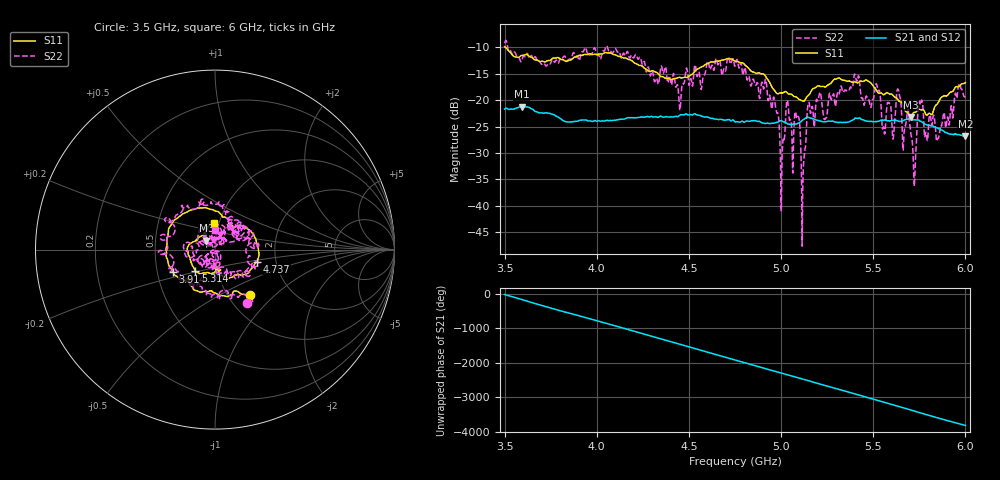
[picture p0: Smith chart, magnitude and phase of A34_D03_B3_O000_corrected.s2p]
! Created with skrf 1.9.0 (http://scikit-rf.org).
# Hz S RI R 50.0
!freq ReS11 ImS11 ReS21 ImS21 ReS12 ImS12 ReS22 ImS22
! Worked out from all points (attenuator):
!   1601 points, 3.5 GHz to 6 GHz, reference 50 ohm
!   highest |S21| = -21.22 dB at 3.592 GHz (marker M1); lowest = -26.9 dB at 6 GHz (marker M2)
!   lowest |S11| = -23.2 dB at 5.703 GHz (marker M3), VSWR 1.15, Z = 45.2 + j4.61 ohm
!   |S11| at or under -10 dB: 3.506 GHz to end of sweep
!   |S22| runs from -47.7 to -8.7 dB; largest |S21 - S12| = 0.001
!   S11 on the Smith chart (normalised r, x): 3.5 GHz: 1.26, -0.72; 3.914 GHz: 0.60, -0.16; 4.737 GHz: 1.59, -0.23; 5.314 GHz: 0.78, -0.19; 6 GHz: 0.94, +0.28
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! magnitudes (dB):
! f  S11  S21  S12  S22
! 3.5 GHz  -9.9  -21.7  -21.7  -9.2
! 3.592 GHz  -11.5  -21.2  -21.2  -12.6
! 3.914 GHz  -11.5  -23.8  -23.7  -11.2
! 3.917 GHz  -11.5  -23.8  -23.8  -10.9
! 4.334 GHz  -15.0  -23.2  -23.2  -17.0
! 4.737 GHz  -12.3  -23.7  -23.8  -12.2
! 4.75 GHz  -12.6  -24.1  -24.0  -13.6
! 4.967 GHz  -18.3  -24.3  -24.2  -20.6
! 5.005 GHz  -18.6  -23.9  -23.9  -31.7
! 5.034 GHz  -18.7  -24.5  -24.4  -20.0
! 5.088 GHz  -19.5  -24.4  -24.4  -23.3
! 5.119 GHz  -20.1  -23.7  -23.6  -35.0
! 5.147 GHz  -19.1  -23.2  -23.2  -20.7
! 5.167 GHz  -18.0  -23.4  -23.4  -21.2
! 5.314 GHz  -15.8  -24.2  -24.2  -19.0
! 5.558 GHz  -18.9  -23.8  -23.7  -25.5
! 5.584 GHz  -18.8  -23.9  -23.9  -20.4
! 5.703 GHz  -23.2  -23.7  -23.7  -26.2
! 5.722 GHz  -22.3  -23.7  -23.7  -35.8
! 5.756 GHz  -21.8  -24.0  -23.9  -20.9
! 5.85 GHz  -20.6  -25.3  -25.2  -27.2
! 6 GHz  -16.7  -26.9  -26.8  -19.2
